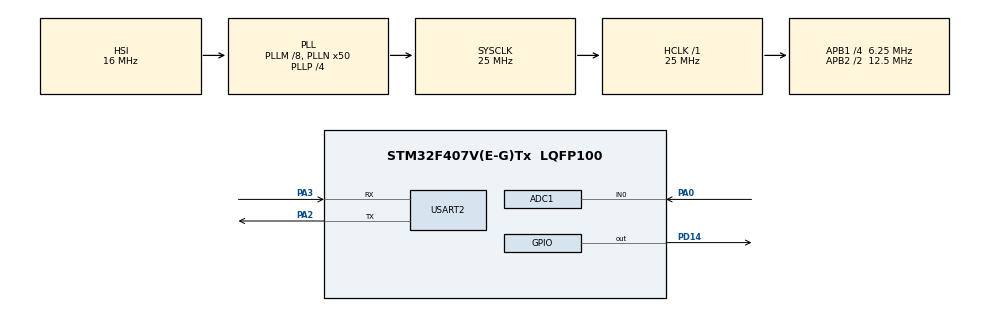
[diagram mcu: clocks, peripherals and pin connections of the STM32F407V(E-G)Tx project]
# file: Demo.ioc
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ADC1.Channel-0\#ChannelRegularConversion=ADC_CHANNEL_0
ADC1.NbrOfConversionFlag=1
ADC1.Rank-0\#ChannelRegularConversion=1
ADC1.SamplingTime-0\#ChannelRegularConversion=ADC_SAMPLETIME_3CYCLES
ADC1.master=1
Mcu.Family=STM32F4
Mcu.Name=STM32F407V(E-G)Tx
Mcu.Package=LQFP100
NVIC.PriorityGroup=NVIC_PRIORITYGROUP_0
PA0-WKUP.Signal=ADCx_IN0
PA2.Mode=Asynchronous
PA2.Signal=USART2_TX
PA3.Mode=Asynchronous
PA3.Signal=USART2_RX
PD14.Signal=GPIO_Output
ProjectManager.HeapSize=0x200
ProjectManager.StackSize=0x400
ProjectManager.TargetToolchain=STM32CubeIDE
RCC.48MHZClocksFreq_Value=14285714.285714285
RCC.AHBFreq_Value=25000000
RCC.APB1CLKDivider=RCC_HCLK_DIV4
RCC.APB1Freq_Value=6250000
RCC.APB1TimFreq_Value=12500000
RCC.APB2CLKDivider=RCC_HCLK_DIV2
RCC.APB2Freq_Value=12500000
RCC.APB2TimFreq_Value=25000000
RCC.CortexFreq_Value=25000000
RCC.HCLKFreq_Value=25000000
RCC.HSE_VALUE=8000000
RCC.HSI_VALUE=16000000
RCC.LSE_VALUE=32768
RCC.PLLM=8
RCC.PLLN=50
RCC.PLLP=RCC_PLLP_DIV4
RCC.PLLQ=7
RCC.SYSCLKFreq_VALUE=25000000
RCC.SYSCLKSource=RCC_SYSCLKSOURCE_PLLCLK
RCC.VCOOutputFreq_Value=100000000
SH.ADCx_IN0.0=ADC1_IN0,IN0
USART2.VirtualMode=VM_ASYNC
board=STM32F407G-DISC1

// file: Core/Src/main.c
/* USER CODE BEGIN Header */
/**
  ******************************************************************************
  * @file           : main.c
  * @brief          : Main program body
  ******************************************************************************
  * @attention
  *
  * Copyright (c) 2025 STMicroelectronics.
  * All rights reserved.
  *
  * This software is licensed under terms that can be found in the LICENSE file
  * in the root directory of this software component.
  * If no LICENSE file comes with this software, it is provided AS-IS.
  *
  ******************************************************************************
  */
/* USER CODE END Header */
#include "main.h"

/* USER CODE BEGIN Includes */
#include "stdio.h"
#include<string.h>
/* USER CODE END Includes */

ADC_HandleTypeDef hadc1;

UART_HandleTypeDef huart2;

/* USER CODE BEGIN PV */
uint32_t adc_value=0;
char Msg[50];
GPIO_InitTypeDef GPIO_InitStruct = {0}; // GPIO init struct for LED
uint32_t voltage=0;

/* USER CODE END PV */

void SystemClock_Config(void);
static void MX_GPIO_Init(void);
static void MX_ADC1_Init(void);
static void MX_USART2_UART_Init(void);

int main(void)
{

  /* MCU Configuration--------------------------------------------------------*/

  /* Reset of all peripherals, Initializes the Flash interface and the Systick. */
  HAL_Init();

  /* Configure the system clock */
  SystemClock_Config();

  /* Initialize all configured peripherals */
  MX_GPIO_Init();
  MX_ADC1_Init();
  MX_USART2_UART_Init();

  /* Infinite loop */
  /* USER CODE BEGIN WHILE */
  while (1)
  {
	  HAL_ADC_Start(&hadc1);
	  if (HAL_ADC_PollForConversion(&hadc1, HAL_MAX_DELAY) == HAL_OK)
	  {
	       // Get the ADC value
		  adc_value = HAL_ADC_GetValue(&hadc1);
	       // Convert ADC value to string
		  float voltage = (adc_value / 4095.0f) * 3.3f;  // 3.3V reference voltage
		  sprintf(Msg, "Gas Level %ld ppm and Voltage: %.2fV\r\n", adc_value,voltage);
		  if(adc_value>2000){
		  HAL_GPIO_TogglePin(GPIOD, GPIO_PIN_14);
		  }
//	       sprintf(Msg, "Gas Level: %lu\r\n", adc_value);
	       // Transmit over UART
	       HAL_UART_Transmit(&huart2, (uint8_t*)Msg, strlen(Msg), HAL_MAX_DELAY);
	    }
	    HAL_ADC_Stop(&hadc1);
        HAL_Delay(1000); // Delay 1 second

    /* USER CODE END WHILE */

  }
}

void SystemClock_Config(void)
{
  RCC_OscInitTypeDef RCC_OscInitStruct = {0};
  RCC_ClkInitTypeDef RCC_ClkInitStruct = {0};

  /** Configure the main internal regulator output voltage
  */
  __HAL_RCC_PWR_CLK_ENABLE();
  __HAL_PWR_VOLTAGESCALING_CONFIG(PWR_REGULATOR_VOLTAGE_SCALE1);

  /** Initializes the RCC Oscillators according to the specified parameters
  * in the RCC_OscInitTypeDef structure.
  */
  RCC_OscInitStruct.OscillatorType = RCC_OSCILLATORTYPE_HSI;
  RCC_OscInitStruct.HSIState = RCC_HSI_ON;
  RCC_OscInitStruct.HSICalibrationValue = RCC_HSICALIBRATION_DEFAULT;
  RCC_OscInitStruct.PLL.PLLState = RCC_PLL_ON;
  RCC_OscInitStruct.PLL.PLLSource = RCC_PLLSOURCE_HSI;
  RCC_OscInitStruct.PLL.PLLM = 8;
  RCC_OscInitStruct.PLL.PLLN = 50;
  RCC_OscInitStruct.PLL.PLLP = RCC_PLLP_DIV4;
  RCC_OscInitStruct.PLL.PLLQ = 7;
  if (HAL_RCC_OscConfig(&RCC_OscInitStruct) != HAL_OK)
  {
    Error_Handler();
  }

  /** Initializes the CPU, AHB and APB buses clocks
  */
  RCC_ClkInitStruct.ClockType = RCC_CLOCKTYPE_HCLK|RCC_CLOCKTYPE_SYSCLK
                              |RCC_CLOCKTYPE_PCLK1|RCC_CLOCKTYPE_PCLK2;
  RCC_ClkInitStruct.SYSCLKSource = RCC_SYSCLKSOURCE_PLLCLK;
  RCC_ClkInitStruct.AHBCLKDivider = RCC_SYSCLK_DIV1;
  RCC_ClkInitStruct.APB1CLKDivider = RCC_HCLK_DIV4;
  RCC_ClkInitStruct.APB2CLKDivider = RCC_HCLK_DIV2;

  if (HAL_RCC_ClockConfig(&RCC_ClkInitStruct, FLASH_LATENCY_0) != HAL_OK)
  {
    Error_Handler();
  }
}

static void MX_ADC1_Init(void)
{

  ADC_ChannelConfTypeDef sConfig = {0};

  /** Configure the global features of the ADC (Clock, Resolution, Data Alignment and number of conversion)
  */
  hadc1.Instance = ADC1;
  hadc1.Init.ClockPrescaler = ADC_CLOCK_SYNC_PCLK_DIV2;
  hadc1.Init.Resolution = ADC_RESOLUTION_12B;
  hadc1.Init.ScanConvMode = DISABLE;
  hadc1.Init.ContinuousConvMode = DISABLE;
  hadc1.Init.DiscontinuousConvMode = DISABLE;
  hadc1.Init.ExternalTrigConvEdge = ADC_EXTERNALTRIGCONVEDGE_NONE;
  hadc1.Init.ExternalTrigConv = ADC_SOFTWARE_START;
  hadc1.Init.DataAlign = ADC_DATAALIGN_RIGHT;
  hadc1.Init.NbrOfConversion = 1;
  hadc1.Init.DMAContinuousRequests = DISABLE;
  hadc1.Init.EOCSelection = ADC_EOC_SINGLE_CONV;
  if (HAL_ADC_Init(&hadc1) != HAL_OK)
  {
    Error_Handler();
  }

  /** Configure for the selected ADC regular channel its corresponding rank in the sequencer and its sample time.
  */
  sConfig.Channel = ADC_CHANNEL_0;
  sConfig.Rank = 1;
  sConfig.SamplingTime = ADC_SAMPLETIME_3CYCLES;
  if (HAL_ADC_ConfigChannel(&hadc1, &sConfig) != HAL_OK)
  {
    Error_Handler();
  }

}

static void MX_USART2_UART_Init(void)
{

  huart2.Instance = USART2;
  huart2.Init.BaudRate = 115200;
  huart2.Init.WordLength = UART_WORDLENGTH_8B;
  huart2.Init.StopBits = UART_STOPBITS_1;
  huart2.Init.Parity = UART_PARITY_NONE;
  huart2.Init.Mode = UART_MODE_TX_RX;
  huart2.Init.HwFlowCtl = UART_HWCONTROL_NONE;
  huart2.Init.OverSampling = UART_OVERSAMPLING_16;
  if (HAL_UART_Init(&huart2) != HAL_OK)
  {
    Error_Handler();
  }

}

static void MX_GPIO_Init(void)
{
  GPIO_InitTypeDef GPIO_InitStruct = {0};

  /* GPIO Ports Clock Enable */
  __HAL_RCC_GPIOA_CLK_ENABLE();
  __HAL_RCC_GPIOD_CLK_ENABLE();

  /*Configure GPIO pin Output Level */
  HAL_GPIO_WritePin(GPIOD, GPIO_PIN_14, GPIO_PIN_RESET);

  /*Configure GPIO pin : PD14 */
  GPIO_InitStruct.Pin = GPIO_PIN_14;
  GPIO_InitStruct.Mode = GPIO_MODE_OUTPUT_PP;
  GPIO_InitStruct.Pull = GPIO_NOPULL;
  GPIO_InitStruct.Speed = GPIO_SPEED_FREQ_LOW;
  HAL_GPIO_Init(GPIOD, &GPIO_InitStruct);

}

void Error_Handler(void)
{
  __disable_irq();
  while (1)
  {
  }
}
